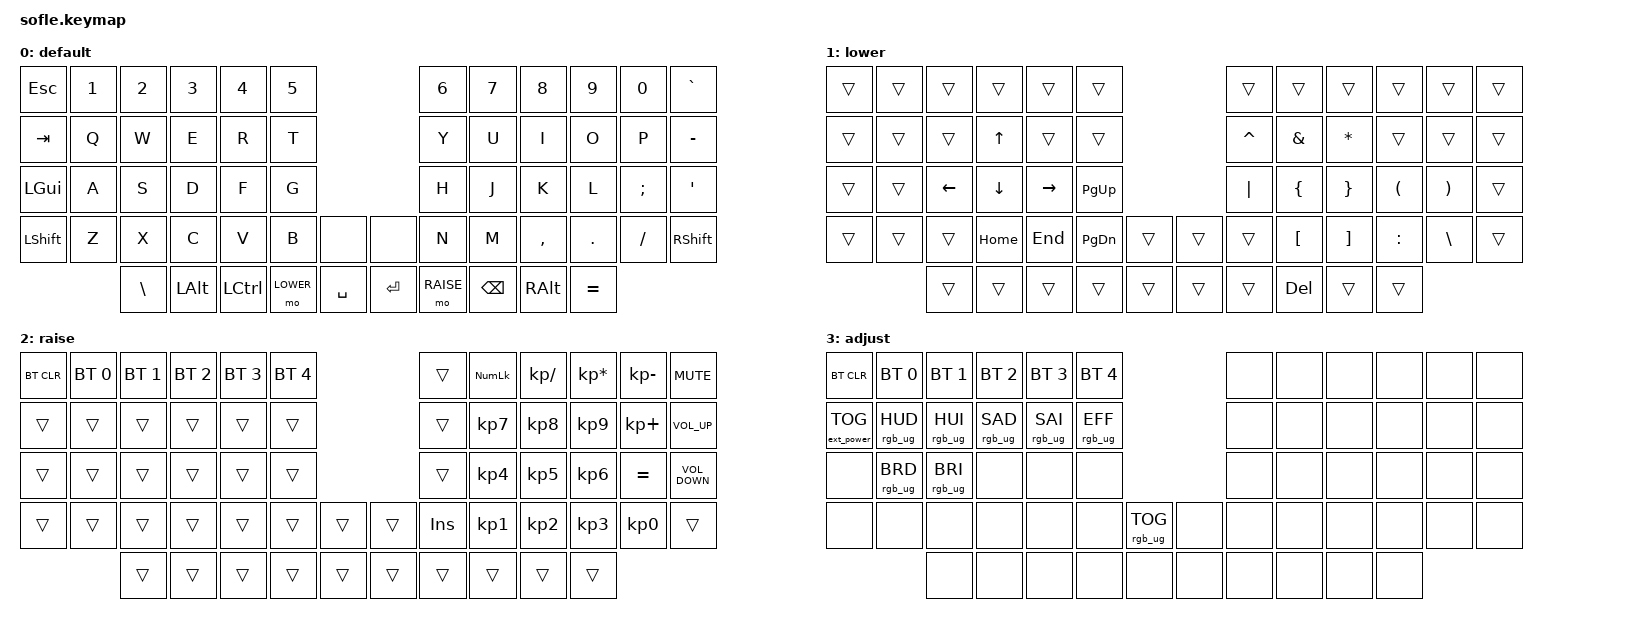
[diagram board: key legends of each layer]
/*
 * Copyright (c) 2020 The ZMK Contributors
 *
 * SPDX-License-Identifier: MIT
 */

#include <behaviors.dtsi>
#include <dt-bindings/zmk/bt.h>
#include <dt-bindings/zmk/ext_power.h>
#include <dt-bindings/zmk/keys.h>
#include <dt-bindings/zmk/rgb.h>

#define BASE 0
#define LOWER 1
#define RAISE 2
#define ADJUST 3

/ {
    // Activate ADJUST layer by pressing raise and lower

    conditional_layers {
        compatible = "zmk,conditional-layers";

        adjust_layer {
            if-layers = <LOWER RAISE>;
            then-layer = <ADJUST>;
        };
    };

    keymap {
        compatible = "zmk,keymap";

        default_layer {
            display-name = "default";
            bindings = <
&kp ESC    &kp N1  &kp N2         &kp N3    &kp N4     &kp N5                           &kp N6     &kp N7         &kp N8     &kp N9     &kp N0    &kp GRAVE
&kp TAB    &kp Q   &kp W          &kp E     &kp R      &kp T                            &kp Y      &kp U          &kp I      &kp O      &kp P     &kp MINUS
&kp LGUI   &kp A   &kp S          &kp D     &kp F      &kp G                            &kp H      &kp J          &kp K      &kp L      &kp SEMI  &kp SQT
&kp LSHFT  &kp Z   &kp X          &kp C     &kp V      &kp B      &none        &none    &kp N      &kp M          &kp COMMA  &kp DOT    &kp FSLH  &kp RSHFT
                   &kp BACKSLASH  &kp LALT  &kp LCTRL  &mo LOWER  &kp SPACE    &kp RET  &mo RAISE  &kp BACKSPACE  &kp RALT   &kp EQUAL
            >;
        };

        lower_layer {
            display-name = "lower";
            bindings = <
&trans  &trans  &trans          &trans          &trans           &trans                           &trans     &trans            &trans             &trans     &trans    &trans
&trans  &trans  &trans          &kp UP_ARROW    &trans           &trans                           &kp CARET  &kp AMPERSAND     &kp ASTERISK       &trans     &trans    &trans
&trans  &trans  &kp LEFT_ARROW  &kp DOWN_ARROW  &kp RIGHT_ARROW  &kp PAGE_UP                      &kp PIPE   &kp LEFT_BRACE    &kp RIGHT_BRACE    &kp LPAR   &kp RPAR  &trans
&trans  &trans  &trans          &kp HOME        &kp END          &kp PAGE_DOWN  &trans    &trans  &trans     &kp LEFT_BRACKET  &kp RIGHT_BRACKET  &kp COLON  &kp BSLH  &trans
                &trans          &trans          &trans           &trans         &trans    &trans  &trans     &kp DELETE        &trans             &trans
            >;
        };

        raise_layer {
            display-name = "raise";
            bindings = <
&bt BT_CLR  &bt BT_SEL 0  &bt BT_SEL 1  &bt BT_SEL 2  &bt BT_SEL 3  &bt BT_SEL 4                    &trans      &kp KP_NUMLOCK   &kp KP_DIVIDE    &kp KP_MULTIPLY  &kp KP_MINUS     &kp C_MUTE
&trans      &trans        &trans        &trans        &trans        &trans                          &trans      &kp KP_NUMBER_7  &kp KP_NUMBER_8  &kp KP_NUMBER_9  &kp KP_PLUS      &kp C_VOLUME_UP
&trans      &trans        &trans        &trans        &trans        &trans                          &trans      &kp KP_NUMBER_4  &kp KP_NUMBER_5  &kp KP_NUMBER_6  &kp EQUAL        &kp C_VOLUME_DOWN
&trans      &trans        &trans        &trans        &trans        &trans        &trans    &trans  &kp INSERT  &kp KP_NUMBER_1  &kp KP_NUMBER_2  &kp KP_NUMBER_3  &kp KP_NUMBER_0  &trans
                          &trans        &trans        &trans        &trans        &trans    &trans  &trans      &trans           &trans           &trans
            >;
        };

        adjust_layer {
            display-name = "adjust";
            bindings = <
&bt BT_CLR         &bt BT_SEL 0     &bt BT_SEL 1     &bt BT_SEL 2     &bt BT_SEL 3     &bt BT_SEL 4                               &none  &none  &none  &none  &none  &none
&ext_power EP_TOG  &rgb_ug RGB_HUD  &rgb_ug RGB_HUI  &rgb_ug RGB_SAD  &rgb_ug RGB_SAI  &rgb_ug RGB_EFF                            &none  &none  &none  &none  &none  &none
&none              &rgb_ug RGB_BRD  &rgb_ug RGB_BRI  &none            &none            &none                                      &none  &none  &none  &none  &none  &none
&none              &none            &none            &none            &none            &none            &rgb_ug RGB_TOG    &none  &none  &none  &none  &none  &none  &none
                                    &none            &none            &none            &none            &none              &none  &none  &none  &none  &none
            >;
        };
    };
};
